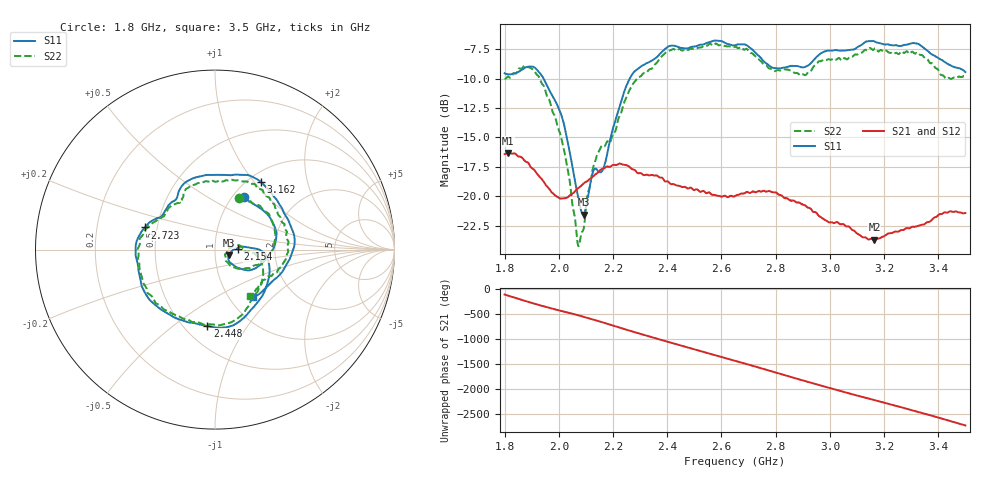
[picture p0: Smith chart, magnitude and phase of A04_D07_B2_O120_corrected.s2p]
! Created with skrf 1.9.0 (http://scikit-rf.org).
# Hz S RI R 50.0
!freq ReS11 ImS11 ReS21 ImS21 ReS12 ImS12 ReS22 ImS22
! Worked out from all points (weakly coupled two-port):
!   1601 points, 1.8 GHz to 3.5 GHz, reference 50 ohm
!   highest |S21| = -16.32 dB at 1.812 GHz (marker M1); lowest = -23.7 dB at 3.164 GHz (marker M2)
!   lowest |S11| = -21.6 dB at 2.091 GHz (marker M3), VSWR 1.18, Z = 58.3 - j3.56 ohm
!   |S11| at or under -10 dB: 1.944 GHz to 2.262 GHz (317.7 MHz wide, 15.1 % of centre)
!   |S22| runs from -24.2 to -7.0 dB; largest |S21 - S12| = 0.0029
!   S11 on the Smith chart (normalised r, x): 1.8 GHz: 1.13, +0.74; 2.154 GHz: 1.29, +0.01; 2.448 GHz: 0.64, -0.67; 2.723 GHz: 0.43, +0.13; 3.162 GHz: 1.14, +1.09; 3.5 GHz: 1.28, -0.76
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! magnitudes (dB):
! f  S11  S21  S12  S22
! 1.8 GHz  -9.5  -16.4  -16.4  -10.0
! 1.812 GHz  -9.6  -16.3  -16.3  -9.8
! 1.88 GHz  -9.0  -17.1  -17.1  -9.0
! 1.942 GHz  -9.9  -18.7  -18.7  -10.5
! 2.014 GHz  -13.4  -20.2  -20.2  -15.5
! 2.069 GHz  -19.8  -19.4  -19.4  -23.9
! 2.084 GHz  -21.3  -19.1  -19.1  -23.1
! 2.091 GHz  -21.6  -18.9  -19.0  -22.8
! 2.127 GHz  -17.9  -18.3  -18.3  -17.5
! 2.154 GHz  -18.0  -17.8  -17.8  -15.9
! 2.193 GHz  -14.8  -17.4  -17.4  -15.2
! 2.259 GHz  -10.1  -17.5  -17.5  -11.1
! 2.367 GHz  -8.0  -18.3  -18.3  -8.5
! 2.448 GHz  -7.4  -19.2  -19.2  -7.5
! 2.65 GHz  -7.2  -20.0  -20.0  -7.3
! 2.723 GHz  -7.7  -19.6  -19.6  -8.1
! 2.796 GHz  -9.1  -19.7  -19.7  -9.4
! 2.934 GHz  -8.6  -21.2  -21.2  -9.2
! 3.162 GHz  -6.8  -23.7  -23.6  -7.5
! 3.164 GHz  -6.8  -23.7  -23.7  -7.5
! 3.217 GHz  -7.1  -23.2  -23.1  -7.8
! 3.5 GHz  -9.4  -21.4  -21.4  -9.9
